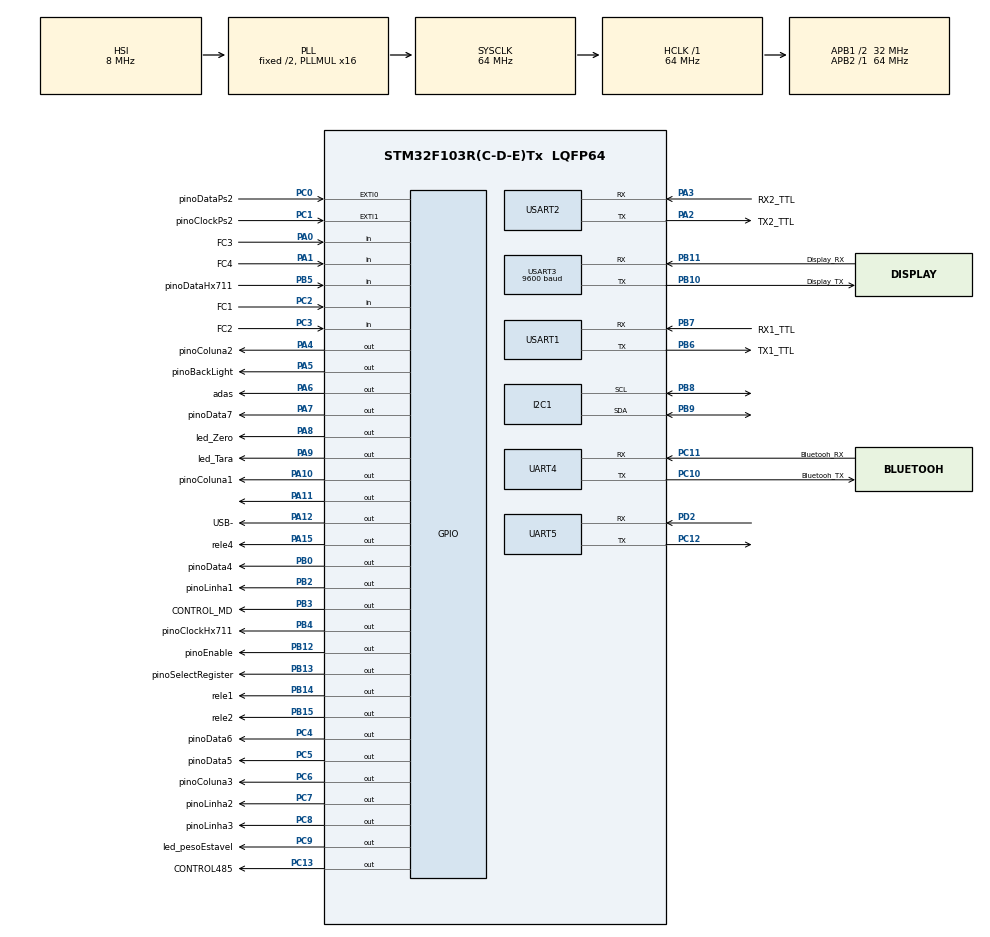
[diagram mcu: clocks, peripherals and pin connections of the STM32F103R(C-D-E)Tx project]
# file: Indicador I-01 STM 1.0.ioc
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Mcu.Family=STM32F1
Mcu.Name=STM32F103R(C-D-E)Tx
Mcu.Package=LQFP64
NVIC.EXTI0_IRQn=true\:1\:0\:true\:false\:true\:true\:true\:true
NVIC.EXTI1_IRQn=true\:1\:0\:true\:false\:true\:true\:true\:true
NVIC.PriorityGroup=NVIC_PRIORITYGROUP_4
NVIC.TIM2_IRQn=true\:0\:0\:false\:false\:true\:true\:true\:true
NVIC.TIM3_IRQn=true\:0\:0\:false\:false\:true\:true\:true\:true
NVIC.UART4_IRQn=true\:1\:0\:true\:false\:true\:true\:true\:true
NVIC.UART5_IRQn=true\:1\:0\:true\:false\:true\:true\:true\:true
NVIC.USART1_IRQn=true\:1\:0\:true\:false\:true\:true\:true\:true
NVIC.USART2_IRQn=true\:0\:0\:false\:false\:true\:true\:true\:true
NVIC.USART3_IRQn=true\:1\:0\:true\:false\:true\:true\:true\:true
PA0-WKUP.GPIO_Label=FC3
PA0-WKUP.Signal=GPIO_Input
PA1.GPIO_Label=FC4
PA1.Signal=GPIO_Input
PA10.GPIO_Label=pinoColuna1
PA10.Signal=GPIO_Output
PA11.Signal=GPIO_Output
PA12.GPIO_Label=USB-
PA12.Signal=GPIO_Output
PA13.Mode=Serial_Wire
PA13.Signal=SYS_JTMS-SWDIO
PA14.Mode=Serial_Wire
PA14.Signal=SYS_JTCK-SWCLK
PA15.GPIO_Label=rele4
PA15.Signal=GPIO_Output
PA2.GPIO_Label=TX2_TTL
PA2.Mode=Asynchronous
PA2.Signal=USART2_TX
PA3.GPIO_Label=RX2_TTL
PA3.Mode=Asynchronous
PA3.Signal=USART2_RX
PA4.GPIO_Label=pinoColuna2
PA4.Signal=GPIO_Output
PA5.GPIO_Label=pinoBackLight
PA5.Signal=GPIO_Output
PA6.GPIO_Label=adas
PA6.Signal=GPIO_Output
PA7.GPIO_Label=pinoData7
PA7.Signal=GPIO_Output
PA8.GPIO_Label=led_Zero
PA8.Signal=GPIO_Output
PA9.GPIO_Label=led_Tara
PA9.Signal=GPIO_Output
PB0.GPIO_Label=pinoData4
PB0.Signal=GPIO_Output
PB10.GPIO_Label=Display_TX
PB10.Mode=Asynchronous
PB10.Signal=USART3_TX
PB11.GPIO_Label=Display_RX
PB11.Mode=Asynchronous
PB11.Signal=USART3_RX
PB12.GPIO_Label=pinoEnable
PB12.Signal=GPIO_Output
PB13.GPIO_Label=pinoSelectRegister
PB13.Signal=GPIO_Output
PB14.GPIO_Label=rele1
PB14.Signal=GPIO_Output
PB15.GPIO_Label=rele2
PB15.Signal=GPIO_Output
PB2.GPIO_Label=pinoLinha1
PB2.Signal=GPIO_Output
PB3.GPIO_Label=CONTROL_MD
PB3.Signal=GPIO_Output
PB4.GPIO_Label=pinoClockHx711
PB4.Signal=GPIO_Output
PB5.GPIO_Label=pinoDataHx711
PB5.Signal=GPIO_Input
PB6.GPIO_Label=TX1_TTL
PB6.Mode=Asynchronous
PB6.Signal=USART1_TX
PB7.GPIO_Label=RX1_TTL
PB7.Mode=Asynchronous
PB7.Signal=USART1_RX
PB8.Mode=I2C
PB8.Signal=I2C1_SCL
PB9.Mode=I2C
PB9.Signal=I2C1_SDA
PC0.GPIO_Label=pinoDataPs2
PC0.Signal=GPXTI0
PC1.GPIO_Label=pinoClockPs2
PC1.GPIO_ModeDefaultEXTI=GPIO_MODE_IT_FALLING
PC1.Signal=GPXTI1
PC10.GPIO_Label=Bluetooh_TX
PC10.Mode=Asynchronous
PC10.Signal=UART4_TX
PC11.GPIO_Label=Bluetooh_RX
PC11.Mode=Asynchronous
PC11.Signal=UART4_RX
PC12.Mode=Asynchronous
PC12.Signal=UART5_TX
PC13-TAMPER-RTC.GPIO_Label=CONTROL485
PC13-TAMPER-RTC.Signal=GPIO_Output
PC14-OSC32_IN.Mode=LSE-External-Oscillator
PC14-OSC32_IN.Signal=RCC_OSC32_IN
PC15-OSC32_OUT.Mode=LSE-External-Oscillator
PC15-OSC32_OUT.Signal=RCC_OSC32_OUT
PC2.GPIO_Label=FC1
PC2.Signal=GPIO_Input
PC3.GPIO_Label=FC2
PC3.Signal=GPIO_Input
PC4.GPIO_Label=pinoData6
PC4.Signal=GPIO_Output
PC5.GPIO_Label=pinoData5
PC5.Signal=GPIO_Output
PC6.GPIO_Label=pinoColuna3
PC6.Signal=GPIO_Output
PC7.GPIO_Label=pinoLinha2
PC7.Signal=GPIO_Output
PC8.GPIO_Label=pinoLinha3
PC8.Signal=GPIO_Output
PC9.GPIO_Label=led_pesoEstavel
PC9.Signal=GPIO_Output
PD0-OSC_IN.Mode=HSE-External-Oscillator
PD0-OSC_IN.Signal=RCC_OSC_IN
PD1-OSC_OUT.Mode=HSE-External-Oscillator
PD1-OSC_OUT.Signal=RCC_OSC_OUT
PD2.Mode=Asynchronous
PD2.Signal=UART5_RX
ProjectManager.HeapSize=0x200
ProjectManager.StackSize=0x400
ProjectManager.TargetToolchain=STM32CubeIDE
RCC.ADCPresc=RCC_ADCPCLK2_DIV6
RCC.AHBFreq_Value=64000000
RCC.APB1CLKDivider=RCC_HCLK_DIV2
RCC.APB1Freq_Value=32000000
RCC.APB1TimFreq_Value=64000000
RCC.APB2Freq_Value=64000000
RCC.APB2TimFreq_Value=64000000
RCC.HCLKFreq_Value=64000000
RCC.HSEDivPLL=RCC_HSE_PREDIV_DIV2
RCC.PLLMUL=RCC_PLL_MUL16
RCC.SYSCLKFreq_VALUE=64000000
RCC.SYSCLKSource=RCC_SYSCLKSOURCE_PLLCLK
RCC.USBFreq_Value=42666666.666666664
RCC.USBPrescaler=RCC_USBCLKSOURCE_PLL_DIV1_5
TIM2.Period=64
TIM2.Prescaler=200
TIM3.Period=64
TIM3.Prescaler=200
UART4.VirtualMode=Asynchronous
UART5.VirtualMode=Asynchronous
USART1.VirtualMode=VM_ASYNC
USART2.VirtualMode=VM_ASYNC
USART3.BaudRate=9600
USART3.VirtualMode=VM_ASYNC
VP_TIM2_VS_ClockSourceINT.Mode=Internal
VP_TIM3_VS_ClockSourceINT.Mode=Internal
board=custom

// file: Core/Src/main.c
/* USER CODE BEGIN Header */
/**
  ******************************************************************************
  * @file           : main.c
  * @brief          : Main program body
  ******************************************************************************
  * @attention
  *
  * Copyright (c) 2022 STMicroelectronics.
  * All rights reserved.
  *
  * This software is licensed under terms that can be found in the LICENSE file
  * in the root directory of this software component.
  * If no LICENSE file comes with this software, it is provided AS-IS.
  *
  ******************************************************************************
  */
/* USER CODE END Header */
#include "main.h"

/* USER CODE BEGIN Includes */
#include "includes.h"
/* USER CODE END Includes */

I2C_HandleTypeDef hi2c1;

TIM_HandleTypeDef htim2;
TIM_HandleTypeDef htim3;

UART_HandleTypeDef huart4;
UART_HandleTypeDef huart5;
UART_HandleTypeDef huart1;
UART_HandleTypeDef huart2;
UART_HandleTypeDef huart3;

void SystemClock_Config(void);
static void MX_GPIO_Init(void);
static void MX_TIM2_Init(void);
static void MX_I2C1_Init(void);
static void MX_UART4_Init(void);
static void MX_USART2_UART_Init(void);
static void MX_USART3_UART_Init(void);
static void MX_USART1_UART_Init(void);
static void MX_UART5_Init(void);
static void MX_TIM3_Init(void);

int main(void)
{

  /* MCU Configuration--------------------------------------------------------*/

  /* Reset of all peripherals, Initializes the Flash interface and the Systick. */
  HAL_Init();

  /* Configure the system clock */
  SystemClock_Config();

  /* Initialize all configured peripherals */
  MX_GPIO_Init();
  MX_TIM2_Init();
  MX_I2C1_Init();
  MX_UART4_Init();
  MX_USART2_UART_Init();
  MX_USART3_UART_Init();
  MX_USART1_UART_Init();
  MX_UART5_Init();
  MX_TIM3_Init();
  /* USER CODE BEGIN 2 */
	HAL_TIM_Base_Start_IT(&htim2);
	HAL_TIM_Base_Start_IT(&htim3);

  flagFazLeituraI2c = 1;
  inicializaComunicacaoPs2();
  inicializaComunicacaoI2c();
  /* USER CODE END 2 */

  /* Infinite loop */
  while (1)
  {

    /* USER CODE BEGIN 3 */
	  ControleMultTask();
  }
  /* USER CODE END 3 */
}

void SystemClock_Config(void)
{
  RCC_OscInitTypeDef RCC_OscInitStruct = {0};
  RCC_ClkInitTypeDef RCC_ClkInitStruct = {0};

  /** Initializes the RCC Oscillators according to the specified parameters
  * in the RCC_OscInitTypeDef structure.
  */
  RCC_OscInitStruct.OscillatorType = RCC_OSCILLATORTYPE_HSI;
  RCC_OscInitStruct.HSIState = RCC_HSI_ON;
  RCC_OscInitStruct.HSICalibrationValue = RCC_HSICALIBRATION_DEFAULT;
  RCC_OscInitStruct.PLL.PLLState = RCC_PLL_ON;
  RCC_OscInitStruct.PLL.PLLSource = RCC_PLLSOURCE_HSI_DIV2;
  RCC_OscInitStruct.PLL.PLLMUL = RCC_PLL_MUL16;
  if (HAL_RCC_OscConfig(&RCC_OscInitStruct) != HAL_OK)
  {
    Error_Handler();
  }

  /** Initializes the CPU, AHB and APB buses clocks
  */
  RCC_ClkInitStruct.ClockType = RCC_CLOCKTYPE_HCLK|RCC_CLOCKTYPE_SYSCLK
                              |RCC_CLOCKTYPE_PCLK1|RCC_CLOCKTYPE_PCLK2;
  RCC_ClkInitStruct.SYSCLKSource = RCC_SYSCLKSOURCE_PLLCLK;
  RCC_ClkInitStruct.AHBCLKDivider = RCC_SYSCLK_DIV1;
  RCC_ClkInitStruct.APB1CLKDivider = RCC_HCLK_DIV2;
  RCC_ClkInitStruct.APB2CLKDivider = RCC_HCLK_DIV1;

  if (HAL_RCC_ClockConfig(&RCC_ClkInitStruct, FLASH_LATENCY_2) != HAL_OK)
  {
    Error_Handler();
  }
}

static void MX_I2C1_Init(void)
{

  hi2c1.Instance = I2C1;
  hi2c1.Init.ClockSpeed = 100000;
  hi2c1.Init.DutyCycle = I2C_DUTYCYCLE_2;
  hi2c1.Init.OwnAddress1 = 0;
  hi2c1.Init.AddressingMode = I2C_ADDRESSINGMODE_7BIT;
  hi2c1.Init.DualAddressMode = I2C_DUALADDRESS_DISABLE;
  hi2c1.Init.OwnAddress2 = 0;
  hi2c1.Init.GeneralCallMode = I2C_GENERALCALL_DISABLE;
  hi2c1.Init.NoStretchMode = I2C_NOSTRETCH_DISABLE;
  if (HAL_I2C_Init(&hi2c1) != HAL_OK)
  {
    Error_Handler();
  }

}

static void MX_TIM2_Init(void)
{

  TIM_ClockConfigTypeDef sClockSourceConfig = {0};
  TIM_MasterConfigTypeDef sMasterConfig = {0};

  htim2.Instance = TIM2;
  htim2.Init.Prescaler = 200;
  htim2.Init.CounterMode = TIM_COUNTERMODE_UP;
  htim2.Init.Period = 64;
  htim2.Init.ClockDivision = TIM_CLOCKDIVISION_DIV1;
  htim2.Init.AutoReloadPreload = TIM_AUTORELOAD_PRELOAD_DISABLE;
  if (HAL_TIM_Base_Init(&htim2) != HAL_OK)
  {
    Error_Handler();
  }
  sClockSourceConfig.ClockSource = TIM_CLOCKSOURCE_INTERNAL;
  if (HAL_TIM_ConfigClockSource(&htim2, &sClockSourceConfig) != HAL_OK)
  {
    Error_Handler();
  }
  sMasterConfig.MasterOutputTrigger = TIM_TRGO_RESET;
  sMasterConfig.MasterSlaveMode = TIM_MASTERSLAVEMODE_DISABLE;
  if (HAL_TIMEx_MasterConfigSynchronization(&htim2, &sMasterConfig) != HAL_OK)
  {
    Error_Handler();
  }

}

static void MX_TIM3_Init(void)
{

  TIM_ClockConfigTypeDef sClockSourceConfig = {0};
  TIM_MasterConfigTypeDef sMasterConfig = {0};

  htim3.Instance = TIM3;
  htim3.Init.Prescaler = 200;
  htim3.Init.CounterMode = TIM_COUNTERMODE_UP;
  htim3.Init.Period = 64;
  htim3.Init.ClockDivision = TIM_CLOCKDIVISION_DIV1;
  htim3.Init.AutoReloadPreload = TIM_AUTORELOAD_PRELOAD_DISABLE;
  if (HAL_TIM_Base_Init(&htim3) != HAL_OK)
  {
    Error_Handler();
  }
  sClockSourceConfig.ClockSource = TIM_CLOCKSOURCE_INTERNAL;
  if (HAL_TIM_ConfigClockSource(&htim3, &sClockSourceConfig) != HAL_OK)
  {
    Error_Handler();
  }
  sMasterConfig.MasterOutputTrigger = TIM_TRGO_RESET;
  sMasterConfig.MasterSlaveMode = TIM_MASTERSLAVEMODE_DISABLE;
  if (HAL_TIMEx_MasterConfigSynchronization(&htim3, &sMasterConfig) != HAL_OK)
  {
    Error_Handler();
  }

}

static void MX_UART4_Init(void)
{

  huart4.Instance = UART4;
  huart4.Init.BaudRate = 115200;
  huart4.Init.WordLength = UART_WORDLENGTH_8B;
  huart4.Init.StopBits = UART_STOPBITS_1;
  huart4.Init.Parity = UART_PARITY_NONE;
  huart4.Init.Mode = UART_MODE_TX_RX;
  huart4.Init.HwFlowCtl = UART_HWCONTROL_NONE;
  huart4.Init.OverSampling = UART_OVERSAMPLING_16;
  if (HAL_UART_Init(&huart4) != HAL_OK)
  {
    Error_Handler();
  }

}

static void MX_UART5_Init(void)
{

  huart5.Instance = UART5;
  huart5.Init.BaudRate = 9600;
  huart5.Init.WordLength = UART_WORDLENGTH_8B;
  huart5.Init.StopBits = UART_STOPBITS_1;
  huart5.Init.Parity = UART_PARITY_NONE;
  huart5.Init.Mode = UART_MODE_TX_RX;
  huart5.Init.HwFlowCtl = UART_HWCONTROL_NONE;
  huart5.Init.OverSampling = UART_OVERSAMPLING_16;
  if (HAL_UART_Init(&huart5) != HAL_OK)
  {
    Error_Handler();
  }

}

static void MX_USART1_UART_Init(void)
{

  huart1.Instance = USART1;
  huart1.Init.BaudRate = 9600;
  huart1.Init.WordLength = UART_WORDLENGTH_8B;
  huart1.Init.StopBits = UART_STOPBITS_1;
  huart1.Init.Parity = UART_PARITY_NONE;
  huart1.Init.Mode = UART_MODE_TX_RX;
  huart1.Init.HwFlowCtl = UART_HWCONTROL_NONE;
  huart1.Init.OverSampling = UART_OVERSAMPLING_16;
  if (HAL_UART_Init(&huart1) != HAL_OK)
  {
    Error_Handler();
  }

}

static void MX_USART2_UART_Init(void)
{

  huart2.Instance = USART2;
  huart2.Init.BaudRate = 9600;
  huart2.Init.WordLength = UART_WORDLENGTH_8B;
  huart2.Init.StopBits = UART_STOPBITS_1;
  huart2.Init.Parity = UART_PARITY_NONE;
  huart2.Init.Mode = UART_MODE_TX_RX;
  huart2.Init.HwFlowCtl = UART_HWCONTROL_NONE;
  huart2.Init.OverSampling = UART_OVERSAMPLING_16;
  if (HAL_UART_Init(&huart2) != HAL_OK)
  {
    Error_Handler();
  }

}

static void MX_USART3_UART_Init(void)
{

  huart3.Instance = USART3;
  huart3.Init.BaudRate = 115200;
  huart3.Init.WordLength = UART_WORDLENGTH_8B;
  huart3.Init.StopBits = UART_STOPBITS_1;
  huart3.Init.Parity = UART_PARITY_NONE;
  huart3.Init.Mode = UART_MODE_TX_RX;
  huart3.Init.HwFlowCtl = UART_HWCONTROL_NONE;
  huart3.Init.OverSampling = UART_OVERSAMPLING_16;
  if (HAL_UART_Init(&huart3) != HAL_OK)
  {
    Error_Handler();
  }

}

static void MX_GPIO_Init(void)
{
  GPIO_InitTypeDef GPIO_InitStruct = {0};

  /* GPIO Ports Clock Enable */
  __HAL_RCC_GPIOC_CLK_ENABLE();
  __HAL_RCC_GPIOD_CLK_ENABLE();
  __HAL_RCC_GPIOA_CLK_ENABLE();
  __HAL_RCC_GPIOB_CLK_ENABLE();

  /*Configure GPIO pin Output Level */
  HAL_GPIO_WritePin(GPIOC, CONTROL485_Pin|pinoData6_Pin|pinoData5_Pin|pinoColuna3_Pin
                          |pinoLinha2_Pin|pinoLinha3_Pin|led_pesoEstavel_Pin, GPIO_PIN_RESET);

  /*Configure GPIO pin Output Level */
  HAL_GPIO_WritePin(GPIOA, pinoColuna2_Pin|pinoBackLight_Pin|adas_Pin|pinoData7_Pin
                          |led_Zero_Pin|led_Tara_Pin|pinoColuna1_Pin|GPIO_PIN_11
                          |USB__Pin|rele4_Pin, GPIO_PIN_RESET);

  /*Configure GPIO pin Output Level */
  HAL_GPIO_WritePin(GPIOB, pinoData4_Pin|pinoLinha1_Pin|pinoEnable_Pin|pinoSelectRegister_Pin
                          |rele1_Pin|rele2_Pin|CONTROL_MD_Pin|pinoClockHx711_Pin, GPIO_PIN_RESET);

  /*Configure GPIO pins : CONTROL485_Pin pinoData6_Pin pinoData5_Pin pinoColuna3_Pin
                           pinoLinha2_Pin pinoLinha3_Pin led_pesoEstavel_Pin */
  GPIO_InitStruct.Pin = CONTROL485_Pin|pinoData6_Pin|pinoData5_Pin|pinoColuna3_Pin
                          |pinoLinha2_Pin|pinoLinha3_Pin|led_pesoEstavel_Pin;
  GPIO_InitStruct.Mode = GPIO_MODE_OUTPUT_PP;
  GPIO_InitStruct.Pull = GPIO_NOPULL;
  GPIO_InitStruct.Speed = GPIO_SPEED_FREQ_LOW;
  HAL_GPIO_Init(GPIOC, &GPIO_InitStruct);

  /*Configure GPIO pin : pinoClockPs2_Pin */
  GPIO_InitStruct.Pin = pinoClockPs2_Pin;
  GPIO_InitStruct.Mode = GPIO_MODE_IT_FALLING;
  GPIO_InitStruct.Pull = GPIO_NOPULL;
  HAL_GPIO_Init(pinoClockPs2_GPIO_Port, &GPIO_InitStruct);

  /*Configure GPIO pins : pinoDataPs2_Pin FC1_Pin FC2_Pin */
  GPIO_InitStruct.Pin = pinoDataPs2_Pin|FC1_Pin|FC2_Pin;
  GPIO_InitStruct.Mode = GPIO_MODE_INPUT;
  GPIO_InitStruct.Pull = GPIO_NOPULL;
  HAL_GPIO_Init(GPIOC, &GPIO_InitStruct);

  /*Configure GPIO pins : FC3_Pin FC4_Pin */
  GPIO_InitStruct.Pin = FC3_Pin|FC4_Pin;
  GPIO_InitStruct.Mode = GPIO_MODE_INPUT;
  GPIO_InitStruct.Pull = GPIO_NOPULL;
  HAL_GPIO_Init(GPIOA, &GPIO_InitStruct);

  /*Configure GPIO pins : pinoColuna2_Pin pinoBackLight_Pin adas_Pin pinoData7_Pin
                           led_Zero_Pin led_Tara_Pin pinoColuna1_Pin PA11
                           USB__Pin rele4_Pin */
  GPIO_InitStruct.Pin = pinoColuna2_Pin|pinoBackLight_Pin|adas_Pin|pinoData7_Pin
                          |led_Zero_Pin|led_Tara_Pin|pinoColuna1_Pin|GPIO_PIN_11
                          |USB__Pin|rele4_Pin;
  GPIO_InitStruct.Mode = GPIO_MODE_OUTPUT_PP;
  GPIO_InitStruct.Pull = GPIO_NOPULL;
  GPIO_InitStruct.Speed = GPIO_SPEED_FREQ_LOW;
  HAL_GPIO_Init(GPIOA, &GPIO_InitStruct);

  /*Configure GPIO pins : pinoData4_Pin pinoLinha1_Pin pinoEnable_Pin pinoSelectRegister_Pin
                           rele1_Pin rele2_Pin CONTROL_MD_Pin pinoClockHx711_Pin */
  GPIO_InitStruct.Pin = pinoData4_Pin|pinoLinha1_Pin|pinoEnable_Pin|pinoSelectRegister_Pin
                          |rele1_Pin|rele2_Pin|CONTROL_MD_Pin|pinoClockHx711_Pin;
  GPIO_InitStruct.Mode = GPIO_MODE_OUTPUT_PP;
  GPIO_InitStruct.Pull = GPIO_NOPULL;
  GPIO_InitStruct.Speed = GPIO_SPEED_FREQ_LOW;
  HAL_GPIO_Init(GPIOB, &GPIO_InitStruct);

  /*Configure GPIO pin : pinoDataHx711_Pin */
  GPIO_InitStruct.Pin = pinoDataHx711_Pin;
  GPIO_InitStruct.Mode = GPIO_MODE_INPUT;
  GPIO_InitStruct.Pull = GPIO_NOPULL;
  HAL_GPIO_Init(pinoDataHx711_GPIO_Port, &GPIO_InitStruct);

  /* EXTI interrupt init*/
  HAL_NVIC_SetPriority(EXTI0_IRQn, 1, 0);
  HAL_NVIC_EnableIRQ(EXTI0_IRQn);

  HAL_NVIC_SetPriority(EXTI1_IRQn, 1, 0);
  HAL_NVIC_EnableIRQ(EXTI1_IRQn);

}

/* USER CODE BEGIN 4 */
void HAL_TIM_PeriodElapsedCallback (TIM_HandleTypeDef *htim)
{
	if (htim->Instance == TIM2)
	{
		controleDasTasks = 1;
	}

	if (htim->Instance == TIM3)
	{
		if (flagModBusRtu.tempoMaxRxModBusRtu == 1)
		{
			if (++tempoMaxRxModBusRtu == silentModBusRtu)
			{
				trataFrameRxModBusRtu();
			}
		}
	}
}

void HAL_UART_RxCpltCallback(UART_HandleTypeDef *huart)
{
	if (exibeVersionControl == 0 && statusLigaDesliga ==_LIGADO)
	{
		if (huart->Instance == USART1)
		{
			if (statusPortaSerial_1Mem == _RS232)
			{
				HAL_UART_Receive_IT (&huart1,Rx_ModbusSerial_1,1);
				rrxModBusRtu = Rx_ModbusSerial_1[0];
				rxSerialModBusRtu();
			}
		}

		if (huart->Instance == UART5)
		{
			if (statusPortaSerial_1Mem == _RS485)
			{
				HAL_UART_Receive_IT (&huart5,Rx_ModbusSerial_1,1);
				rrxModBusRtu = Rx_ModbusSerial_1[0];
				rxSerialModBusRtu();
			}
		}
	}
}

void HAL_UART_TxCpltCallback(UART_HandleTypeDef *huart)
{
	if (huart->Instance == USART1)
	{
		flagModBusRtu.txModBusRtu = 0;
		flagTxSerial_1.transmitindoSerial_1 = 0;
		flagModBusRtu.transmitindoModBusRtu = 0;
		HAL_GPIO_WritePin(CONTROL485_GPIO_Port, CONTROL485_Pin, GPIO_PIN_RESET);
		HAL_UART_AbortTransmit_IT(&huart1);
	}

	if (huart->Instance == USART2)
	{
		transmitindoSerial_2 = 0;
		HAL_UART_AbortTransmit_IT(&huart2);
	}

	if (huart->Instance == USART3)
	{
		HAL_UART_AbortTransmit_IT(&huart3);
	}

	if (huart->Instance == UART5)
	{
		flagModBusRtu.txModBusRtu = 0;
		flagTxSerial_1.transmitindoSerial_1 = 0;
		flagModBusRtu.transmitindoModBusRtu = 0;
		HAL_GPIO_WritePin(CONTROL485_GPIO_Port, CONTROL485_Pin, GPIO_PIN_RESET);
		HAL_UART_AbortTransmit_IT(&huart5);
	}
}

void HAL_GPIO_EXTI_Callback(uint16_t GPIO_Pin)
{
	if (!HAL_GPIO_ReadPin(pinoClockPs2_GPIO_Port,pinoClockPs2_Pin))
	{
		if (statusInterruptPs2Atual == interruptRxPs2){recebeDadoTecladoPs2Interrupt();}
		if (statusInterruptPs2Atual == interruptTxPs2){transmiteDadoTecladoPs2Interrupt();}
	}
}
/* USER CODE END 4 */

void Error_Handler(void)
{
  __disable_irq();
  while (1)
  {
  }
}
